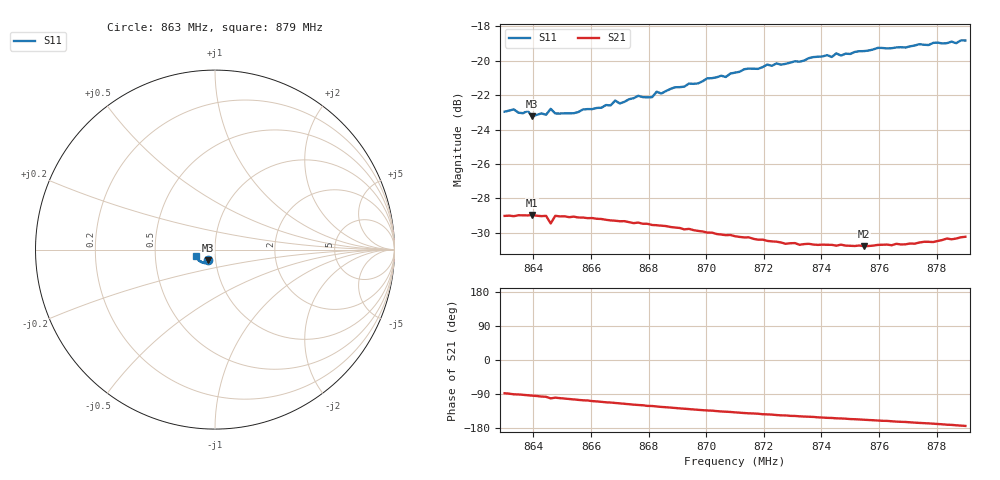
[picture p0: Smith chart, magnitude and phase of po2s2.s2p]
# HZ S RI R 50
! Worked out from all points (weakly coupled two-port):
!   101 points, 863 MHz to 879 MHz, reference 50 ohm
!   highest |S21| = -28.96 dB at 863.96 MHz (marker M1); lowest = -30.8 dB at 875.48 MHz (marker M2)
!   lowest |S11| = -23.2 dB at 863.96 MHz (marker M3), VSWR 1.15, Z = 46.1 - j5.39 ohm
!   |S11| at or under -10 dB: start of sweep to end of sweep
!   S12 and S22 are empty: the file has one direction only
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8.63e8  -0.0412 -0.058  0.00145 -0.0354  0 0  0 0
8.638e8  -0.0394 -0.0597  -0.00184 -0.0355  0 0  0 0
8.6396e8  -0.037 -0.0581  -0.00261 -0.0356  0 0  0 0
8.6444e8  -0.0361 -0.0596  -0.00443 -0.0352  0 0  0 0
8.646e8  -0.0357 -0.0631  -0.00659 -0.033  0 0  0 0
8.6476e8  -0.0365 -0.0601  -0.00578 -0.035  0 0  0 0
8.654e8  -0.0354 -0.0608  -0.00854 -0.0342  0 0  0 0
8.6572e8  -0.0347 -0.0633  -0.00983 -0.0336  0 0  0 0
8.6668e8  -0.0361 -0.0648  -0.013 -0.0318  0 0  0 0
8.6684e8  -0.0366 -0.0673  -0.0136 -0.0315  0 0  0 0
8.67e8  -0.0367 -0.0656  -0.0141 -0.0311  0 0  0 0
8.6764e8  -0.0387 -0.069  -0.0163 -0.0297  0 0  0 0
8.6812e8  -0.0393 -0.0678  -0.0174 -0.0285  0 0  0 0
8.6828e8  -0.0402 -0.0707  -0.018 -0.028  0 0  0 0
8.6844e8  -0.04 -0.0696  -0.0184 -0.0276  0 0  0 0
8.6892e8  -0.0423 -0.0723  -0.0195 -0.0263  0 0  0 0
8.71e8  -0.0537 -0.0752  -0.023 -0.0206  0 0  0 0
8.7276e8  -0.0652 -0.0731  -0.0244 -0.0163  0 0  0 0
8.7372e8  -0.0734 -0.0716  -0.0254 -0.0145  0 0  0 0
8.7548e8  -0.0857 -0.0636  -0.0268 -0.011  0 0  0 0
8.7644e8  -0.0927 -0.057  -0.0276 -0.00913  0 0  0 0
8.79e8  -0.1086 -0.0365  -0.0306 -0.00324  0 0  0 0
